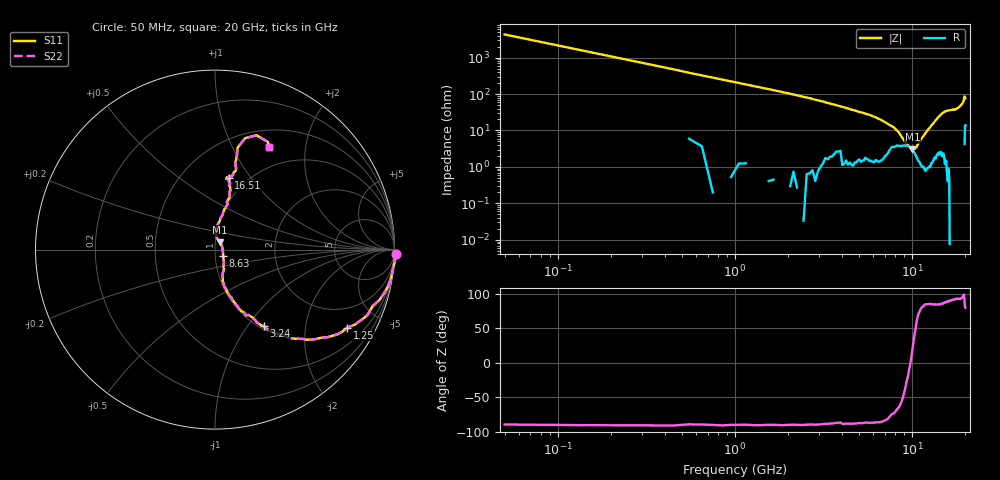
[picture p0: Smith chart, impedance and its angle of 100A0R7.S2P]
!  American Technical Ceramics  Date:  11/13/98
!  One Norden Lane
!  Huntington Station,  NY.  11746-2102
!  Tel:  (516) 622-4700  Fax:  (516) 622-4748
!  Part Number  100A0R7
!  Description: Porcelain, High Q, Low ESR
!  Application: Bypass, Coupling, Timing, Feedback
!  Tuning, Impedance Match, Blocking
# GHZ S DB R 50
! Freq  |S11|  S11 Ph  |S21|  S21 Ph  |S12|  S12 Ph  |S22|  S22 Ph
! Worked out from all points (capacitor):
!   201 points, 50 MHz to 20 GHz, reference 50 ohm
!   read as one part in series: C = 742 fF near 150 MHz
!   lowest |Z| = 3.07 ohm at 10.03 GHz (marker M1)
!   series resonance near 9.795 GHz, so ESL is about 360 pH
!   S11 on the Smith chart (normalised r, x): 50 MHz: -25, -74; 1.25 GHz: 1.04, -3.37; 3.24 GHz: 1.04, -1.20; 8.63 GHz: 1.09, -0.08; 16.51 GHz: 0.82, +0.79; 20 GHz: 0.72, +1.41
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0.05  0.07 -1.4  -32.59 88.0  -32.59 88.0  0.07 -1.4
0.15  0.03 -4.0  -23.09 86.3  -23.09 86.3  0.03 -4.0
0.35  -0.06 -9.6  -15.80 81.1  -15.80 81.1  -0.06 -9.6
0.65  -0.36 -16.9  -10.55 72.3  -10.55 72.3  -0.36 -16.9
1.25  -1.35 -30.5  -5.85 59.7  -5.85 59.7  -1.35 -30.5
2.05  -2.88 -44.4  -3.05 45.2  -3.05 45.2  -2.88 -44.4
3.24  -5.93 -57.6  -1.37 30.3  -1.37 30.3  -5.93 -57.6
3.44  -6.48 -59.7  -1.24 28.1  -1.24 28.1  -6.48 -59.7
4.64  -9.11 -68.0  -0.58 19.2  -0.58 19.2  -9.11 -68.0
6.73  -14.33 -75.7  -0.30 10.2  -0.30 10.2  -14.33 -75.7
7.83  -18.84 -65.0  -0.34 7.0  -0.34 7.0  -18.84 -65.0
8.63  -24.55 -39.4  -0.28 4.8  -0.28 4.8  -24.55 -39.4
9.13  -27.43 0.9  -0.28 3.3  -0.28 3.3  -27.43 0.9
10.03  -26.13 56.8  -0.26 1.4  -0.26 1.4  -26.13 56.8
13.42  -14.17 77.8  -0.37 -8.3  -0.37 -8.3  -14.17 77.8
14.71  -9.81 75.7  -0.72 -12.2  -0.72 -12.2  -9.81 75.7
16.51  -7.83 79.3  -1.10 -14.7  -1.10 -14.7  -7.83 79.3
16.71  -7.85 79.8  -1.12 -14.9  -1.12 -14.9  -7.85 79.8
18.3  -7.60 78.6  -1.36 -21.6  -1.36 -21.6  -7.60 78.6
19.4  -5.89 76.8  -2.59 -31.6  -2.59 -31.6  -5.89 76.8
19.7  -3.83 74.9  -4.49 -30.5  -4.49 -30.5  -3.83 74.9
20  -3.79 62.0  -3.47 -19.6  -3.47 -19.6  -3.79 62.0
